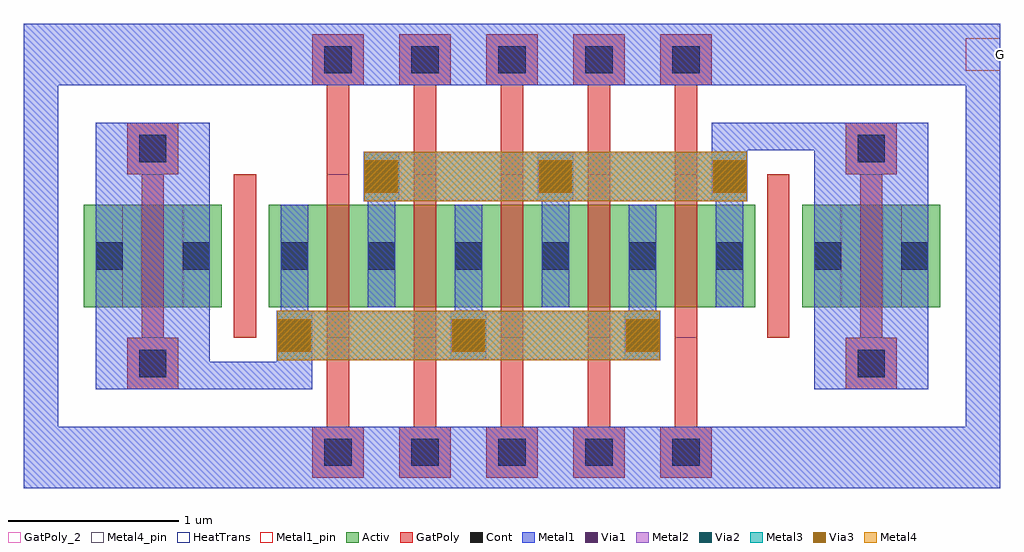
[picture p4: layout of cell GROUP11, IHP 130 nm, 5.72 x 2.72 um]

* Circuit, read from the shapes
.subckt GROUP11 G
XM1 nmos$1_priv3_0/D nmos$1_priv3_0/D nmos$1_priv3_0/D VSUBS sg13_lv_nmos w=0.6u l=0.13u
XM2 nmos$1_priv3_0/S G nmos$1_priv3_0/D VSUBS sg13_lv_nmos w=0.6u l=0.13u m=5
XM3 nmos$1_priv3_0/S nmos$1_priv3_0/S nmos$1_priv3_0/S VSUBS sg13_lv_nmos w=0.6u l=0.13u
.ends

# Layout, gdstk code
import gdstk
lib = gdstk.Library(unit=1e-6, precision=1e-09)
def R(c, l, rs):  # rectangles x0, y0, x1, y1
    for r in rs: c.add(gdstk.rectangle(r[:2], r[2:], *l))
def A(c, l, x, y, w, h, nx, ny, dx, dy):  # array of equal rectangles
    R(c, l, [(x+i*dx, y+j*dy, x+i*dx+w, y+j*dy+h) for i in range(nx) for j in range(ny)])
Activ = (1, 0)
GatPoly = (5, 0)
GatPoly_2 = (5, 2)
Cont = (6, 0)
Metal1 = (8, 0)
Metal1_pin = (8, 2)
Metal2 = (10, 0)
Via1 = (19, 0)
Via2 = (29, 0)
Metal3 = (30, 0)
Via3 = (49, 0)
Metal4 = (50, 0)
Metal4_pin = (50, 2)
HeatTrans = (51, 0)

nmos_1_priv3 = lib.new_cell('nmos$1_priv3')
A(nmos_1_priv3, Activ, 0, 0, 0.3, 0.3, 6, 1, 0.51, 0)
R(nmos_1_priv3, Activ, [(0,0,2.85,0.6)])
A(nmos_1_priv3, GatPoly, 0.255, -1, 0.3, 0.3, 5, 2, 0.51, 2.3)
A(nmos_1_priv3, GatPoly, 0.34, -0.7, 0.13, 0.52, 5, 2, 0.51, 1.48)
A(nmos_1_priv3, GatPoly, 0.34, -0.18, 0.13, 0.96, 5, 1, 0.51, 0)
R(nmos_1_priv3, GatPoly_2, [(0.34,-0.18,0.47,0.78)])
A(nmos_1_priv3, Cont, 0.325, -0.93, 0.16, 0.16, 5, 2, 0.51, 2.3)
A(nmos_1_priv3, Cont, 0.07, 0.22, 0.16, 0.16, 6, 1, 0.51, 0)
A(nmos_1_priv3, Metal1, 0.27, -1.06, 0.27, 0.36, 5, 2, 0.51, 2.36)
A(nmos_1_priv3, Metal1, 0.045, -0.31, 0.21, 0.29, 3, 1, 1.02, 0)
A(nmos_1_priv3, Metal1, 0.07, -0.035, 0.16, 0.05, 3, 1, 1.02, 0)
A(nmos_1_priv3, Metal1, 0.07, 0, 0.16, 0.6, 6, 1, 0.51, 0)
A(nmos_1_priv3, Metal1, 0.58, 0.585, 0.16, 0.05, 3, 1, 1.02, 0)
A(nmos_1_priv3, Metal1, 0.555, 0.62, 0.21, 0.29, 3, 1, 1.02, 0)
R(nmos_1_priv3, Metal1_pin, [(0.07,0,0.23,0.6), (0.58,0,0.74,0.6)])
A(nmos_1_priv3, Metal2, 0.05, -0.31, 0.2, 0.29, 3, 1, 1.02, 0)
A(nmos_1_priv3, Metal2, 0.56, 0.62, 0.2, 0.29, 3, 1, 1.02, 0)
R(nmos_1_priv3, Metal2, [(0.05,-0.31,2.29,-0.02), (0.56,0.62,2.8,0.91)])
A(nmos_1_priv3, Via1, 0.055, -0.26, 0.19, 0.19, 3, 1, 1.02, 0)
A(nmos_1_priv3, Via1, 0.565, 0.67, 0.19, 0.19, 3, 1, 1.02, 0)
A(nmos_1_priv3, Via2, 0.055, -0.26, 0.19, 0.19, 3, 1, 1.02, 0)
A(nmos_1_priv3, Via2, 0.565, 0.67, 0.19, 0.19, 3, 1, 1.02, 0)
A(nmos_1_priv3, Metal3, 0.05, -0.31, 0.2, 0.29, 3, 1, 1.02, 0)
A(nmos_1_priv3, Metal3, 0.56, 0.62, 0.2, 0.29, 3, 1, 1.02, 0)
R(nmos_1_priv3, Metal3, [(0.05,-0.31,2.29,-0.02), (0.56,0.62,2.8,0.91)])
A(nmos_1_priv3, Via3, 0.055, -0.26, 0.19, 0.19, 3, 1, 1.02, 0)
A(nmos_1_priv3, Via3, 0.565, 0.67, 0.19, 0.19, 3, 1, 1.02, 0)
A(nmos_1_priv3, Metal4, 0.05, -0.31, 0.2, 0.29, 3, 1, 1.02, 0)
A(nmos_1_priv3, Metal4, 0.56, 0.62, 0.2, 0.29, 3, 1, 1.02, 0)
R(nmos_1_priv3, Metal4, [(0.05,-0.31,2.29,-0.02), (0.56,0.62,2.8,0.91)])
R(nmos_1_priv3, Metal4_pin, [(2.095,-0.26,2.285,-0.07), (2.605,0.67,2.795,0.86)])
A(nmos_1_priv3, HeatTrans, 0.34, -0.18, 0.13, 0.96, 5, 1, 0.51, 0)
nmos_1_priv3.add(gdstk.Label('nmos', (0.405,0.3), layer=63, texttype=0))
nmos_1_priv3.add(gdstk.Label('nmos', (0.405,0.3), layer=51, texttype=0))
nmos_1_priv3.add(gdstk.Label('nmos', (0.915,0.3), layer=51, texttype=0))
nmos_1_priv3.add(gdstk.Label('nmos', (1.425,0.3), layer=51, texttype=0))
nmos_1_priv3.add(gdstk.Label('nmos', (1.935,0.3), layer=51, texttype=0))
nmos_1_priv3.add(gdstk.Label('nmos', (2.445,0.3), layer=51, texttype=0))
nmos_1_priv3.add(gdstk.Label('S', (2.7,0.765), layer=50, texttype=0))
nmos_1_priv3.add(gdstk.Label('D', (2.19,-0.165), layer=50, texttype=0))

nmos_4_priv5 = lib.new_cell('nmos$4_priv5')
R(nmos_4_priv5, Activ, [(0,0,0.3,0.3), (0,0,0.81,0.6), (0.51,0,0.81,0.3)])
R(nmos_4_priv5, GatPoly, [(0.255,-0.48,0.555,-0.18), (0.34,-0.18,0.47,0.78), (0.255,0.78,0.555,1.08)])
R(nmos_4_priv5, GatPoly_2, [(0.34,-0.18,0.47,0.78)])
R(nmos_4_priv5, Cont, [(0.325,-0.41,0.485,-0.25), (0.07,0.22,0.23,0.38), (0.58,0.22,0.74,0.38), (0.325,0.85,0.485,1.01)])
R(nmos_4_priv5, Metal1, [(0.07,-0.48,0.74,1.08), (0.07,0,0.23,0.6), (0.58,0,0.74,0.6)])
R(nmos_4_priv5, Metal1_pin, [(0.07,0,0.23,0.6), (0.58,0,0.74,0.6)])
R(nmos_4_priv5, HeatTrans, [(0.34,-0.18,0.47,0.78)])
nmos_4_priv5.add(gdstk.Label('nmos', (0.405,0.3), layer=63, texttype=0))
nmos_4_priv5.add(gdstk.Label('nmos', (0.405,0.3), layer=51, texttype=0))

nmos_4_priv6 = lib.new_cell('nmos$4_priv6')
R(nmos_4_priv6, Activ, [(0,0,0.3,0.3), (0,0,0.81,0.6), (0.51,0,0.81,0.3)])
R(nmos_4_priv6, GatPoly, [(0.255,-0.48,0.555,-0.18), (0.34,-0.18,0.47,0.78), (0.255,0.78,0.555,1.08)])
R(nmos_4_priv6, GatPoly_2, [(0.34,-0.18,0.47,0.78)])
R(nmos_4_priv6, Cont, [(0.325,-0.41,0.485,-0.25), (0.07,0.22,0.23,0.38), (0.58,0.22,0.74,0.38), (0.325,0.85,0.485,1.01)])
R(nmos_4_priv6, Metal1, [(0.07,-0.48,0.74,1.08), (0.07,0,0.23,0.6), (0.58,0,0.74,0.6)])
R(nmos_4_priv6, Metal1_pin, [(0.07,0,0.23,0.6), (0.58,0,0.74,0.6)])
R(nmos_4_priv6, HeatTrans, [(0.34,-0.18,0.47,0.78)])
nmos_4_priv6.add(gdstk.Label('nmos', (0.405,0.3), layer=63, texttype=0))
nmos_4_priv6.add(gdstk.Label('nmos', (0.405,0.3), layer=51, texttype=0))

group11 = lib.new_cell('GROUP11')
R(group11, GatPoly, [(203.425,-85.47,203.555,-84.51), (206.55,-85.47,206.68,-84.51)])
R(group11, Metal1, [(202.195,-86.35,207.915,-85.99), (202.195,-86.35,202.395,-83.63), (207.715,-86.35,207.915,-83.63), (203.285,-85.77,203.885,-85.61), (203.675,-85.61,203.885,-85.31), (206.225,-84.67,206.435,-84.37), (206.225,-84.37,206.825,-84.21), (202.195,-83.99,207.915,-83.63)])
R(group11, Metal1_pin, [(207.715,-83.905,207.915,-83.715)])
group11.add(gdstk.Reference(nmos_1_priv3, (203.63,-85.29)))
group11.add(gdstk.Reference(nmos_4_priv5, (202.545,-85.29)))
group11.add(gdstk.Reference(nmos_4_priv6, (206.755,-85.29)))
group11.add(gdstk.Label('G', (207.915,-83.81), layer=8, texttype=0))

lib.write_gds('GROUP11.gds')
